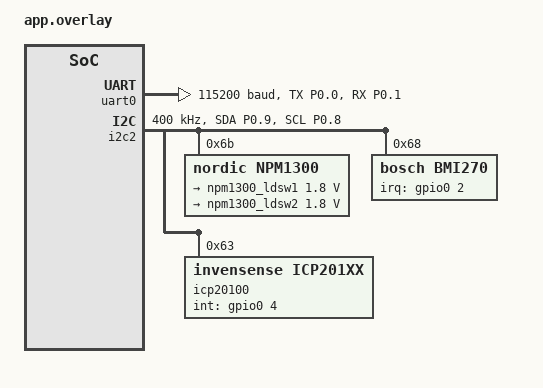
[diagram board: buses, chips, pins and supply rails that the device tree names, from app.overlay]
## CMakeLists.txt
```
cmake_minimum_required(VERSION 3.20.0)

find_package(Zephyr REQUIRED HINTS $ENV{ZEPHYR_BASE})
project(lte_pcb)

target_sources(app PRIVATE src/main.c)
```

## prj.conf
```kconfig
# =====================================================
# LTE Cyclic Connection Test - prj.conf
# =====================================================

# --- Logging over UART ---
CONFIG_LOG=y
CONFIG_SERIAL=y
CONFIG_UART_CONSOLE=y
CONFIG_LOG_BUFFER_SIZE=4096

# --- Modem & LTE Link Control ---
CONFIG_NRF_MODEM_LIB=y
CONFIG_LTE_LINK_CONTROL=y

# Enable both LTE-M and NB-IoT, but PREFER LTE-M.
# The modem will try LTE-M first and only fall back to NB-IoT if needed.
CONFIG_LTE_NETWORK_MODE_LTE_M_NBIOT=y
CONFIG_LTE_MODE_PREFERENCE_LTE_M=y

# (Alternative: force LTE-M ONLY, no NB-IoT fallback.
#  Comment out the two lines above and use this instead:)
# CONFIG_LTE_NETWORK_MODE_LTE_M=y

# --- General system ---
CONFIG_HEAP_MEM_POOL_SIZE=4096
CONFIG_MAIN_STACK_SIZE=4096

# --- nPM1300 PMIC (charger + regulators on I2C) ---
CONFIG_I2C=y
CONFIG_GPIO=y
CONFIG_MFD=y
CONFIG_REGULATOR=y
# SENSOR is needed for the npm1300 charger driver (battery voltage readout)
CONFIG_SENSOR=y
```

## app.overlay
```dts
#include <zephyr/dt-bindings/regulator/npm13xx.h>
#include <zephyr/dt-bindings/i2c/i2c.h>

&pinctrl {
    /* --- UART0 --- */
    uart0_default: uart0_default {
        group1 {
            psels = <NRF_PSEL(UART_TX, 0, 0)>,
                    <NRF_PSEL(UART_RX, 0, 1)>;
        };
    };
    uart0_sleep: uart0_sleep {
        group1 {
            psels = <NRF_PSEL(UART_TX, 0, 0)>,
                    <NRF_PSEL(UART_RX, 0, 1)>;
            low-power-enable;
        };
    };

    /* --- I2C2 --- */
    i2c2_default: i2c2_default {
        group1 {
            psels = <NRF_PSEL(TWIM_SDA, 0, 9)>,
                    <NRF_PSEL(TWIM_SCL, 0, 8)>;
        };
    };
    i2c2_sleep: i2c2_sleep {
        group1 {
            psels = <NRF_PSEL(TWIM_SDA, 0, 9)>,
                    <NRF_PSEL(TWIM_SCL, 0, 8)>;
            low-power-enable;
        };
    };
};


&uart0 {
    status = "okay";
    current-speed = <115200>;
    pinctrl-0 = <&uart0_default>;
    pinctrl-1 = <&uart0_sleep>;
    pinctrl-names = "default", "sleep";
};

&i2c2 {
    status = "okay";
    pinctrl-0 = <&i2c2_default>;
    pinctrl-1 = <&i2c2_sleep>;
    pinctrl-names = "default", "sleep";
    clock-frequency = <I2C_BITRATE_FAST>;
    zephyr,concat-buf-size = <2048>;
    zephyr,flash-buf-max-size = <2048>;

    npm1300: pmic@6b {
        compatible = "nordic,npm1300";
        reg = <0x6b>;
        status = "okay";

        npm1300_regulators: regulators {
            compatible = "nordic,npm1300-regulator";
            status = "okay";
        };

        npm1300_charger: charger {
            compatible = "nordic,npm1300-charger";
            status = "okay";
            vbus-limit-microamp = <1300000>;
            term-microvolt = <4200000>;
            current-microamp = <150000>;
            dischg-limit-microamp = <1000000>;
            thermistor-ohms = <10000>;
            thermistor-beta = <3380>;
        };
    };


    /* Bosch BMI270 IMU */
    bmi270: bmi270@68 {
        compatible = "bosch,bmi270";
        reg = <0x68>;
        irq-gpios = <&gpio0 2 GPIO_ACTIVE_HIGH>;
    };

    /* TDK Barometer */
    icp20100: icp20100@63 {
        compatible = "invensense,icp201xx";
        reg = <0x63>;
        int-gpios = <&gpio0 4 GPIO_ACTIVE_HIGH>;
    };

};


&npm1300_regulators {
    npm1300_ldsw1: LDO1 {
        status = "okay";
        /* Fixed: Lowered to 1.8V to match nRF9151 GPIO logic levels */
        regulator-min-microvolt = <1800000>;
        regulator-max-microvolt = <1800000>;
        regulator-initial-mode = <NPM13XX_LDSW_MODE_LDSW>;
        active-discharge;
        regulator-boot-on;
        regulator-always-on;
    };

    npm1300_ldsw2: LDO2 {
        status = "okay";
        /* Fixed: Lowered to 1.8V to match nRF9151 GPIO logic levels */
        regulator-min-microvolt = <1800000>;
        regulator-max-microvolt = <1800000>;
        regulator-initial-mode = <NPM13XX_LDSW_MODE_LDSW>;
        active-discharge;
        regulator-boot-on;
        regulator-always-on;
    };
};
```

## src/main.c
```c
#include <zephyr/kernel.h>
#include <zephyr/device.h>
#include <zephyr/logging/log.h>
#include <zephyr/drivers/sensor.h>
#include <modem/nrf_modem_lib.h>
#include <modem/lte_lc.h>

LOG_MODULE_REGISTER(main_app, LOG_LEVEL_INF);

static K_SEM_DEFINE(lte_connected, 0, 1);
static bool network_rejected = false;

static void lte_handler(const struct lte_lc_evt *const evt)
{
    switch (evt->type) {
    case LTE_LC_EVT_NW_REG_STATUS:
        if ((evt->nw_reg_status == LTE_LC_NW_REG_REGISTERED_HOME) ||
            (evt->nw_reg_status == LTE_LC_NW_REG_REGISTERED_ROAMING)) {
            LOG_INF("Connected to LTE network!");
            k_sem_give(&lte_connected);
        } else if (evt->nw_reg_status == LTE_LC_NW_REG_REGISTRATION_DENIED) {
            LOG_ERR("Network rejected us!");
            network_rejected = true;
            k_sem_give(&lte_connected);
        }
        break;

    case LTE_LC_EVT_LTE_MODE_UPDATE:
        /* Tells you whether the modem actually picked LTE-M or NB-IoT */
        LOG_INF("Active LTE mode: %s",
                evt->lte_mode == LTE_LC_LTE_MODE_LTEM  ? "LTE-M" :
                evt->lte_mode == LTE_LC_LTE_MODE_NBIOT ? "NB-IoT" : "None");
        break;

    case LTE_LC_EVT_RRC_UPDATE:
        LOG_INF("RRC mode: %s",
                evt->rrc_mode == LTE_LC_RRC_MODE_CONNECTED ? "Connected" : "Idle");
        break;

    default:
        break;
    }
}

/* Log battery voltage from the nPM1300 charger (useful now that we run on battery) */
static void log_battery_voltage(void)
{
    static const struct device *const charger =
        DEVICE_DT_GET(DT_NODELABEL(npm1300_charger));
    struct sensor_value volt;

    if (!device_is_ready(charger)) {
        LOG_WRN("Charger device not ready, skipping battery readout.");
        return;
    }

    if (sensor_sample_fetch(charger) == 0 &&
        sensor_channel_get(charger, SENSOR_CHAN_GAUGE_VOLTAGE, &volt) == 0) {
        LOG_INF("Battery voltage: %d.%03d V", volt.val1, volt.val2 / 1000);
    } else {
        LOG_WRN("Failed to read battery voltage.");
    }
}

int main(void)
{
    int err;

    LOG_INF("=== LTE Cyclic Connection Test Booting (LTE-M preferred) ===");

    const struct device *const npm1300_dev = DEVICE_DT_GET(DT_NODELABEL(npm1300));
    if (!device_is_ready(npm1300_dev)) {
        LOG_ERR("PMIC is not ready");
        return -1;
    }
    LOG_INF("PMIC initialized successfully.");

    log_battery_voltage();

    /* Initialize the modem library ONLY ONCE */
    LOG_INF("Initializing modem library...");
    err = nrf_modem_lib_init();
    if (err) {
        LOG_ERR("Modem init failed, err %d", err);
        return -1;
    }

    /* --- The Infinite Reconnect Loop --- */
    while (1) {
        network_rejected = false;
        k_sem_reset(&lte_connected);

        LOG_INF("Connecting to LTE network...");
        err = lte_lc_connect_async(lte_handler);
        if (err) {
            LOG_ERR("LTE connect async failed, err %d", err);
            k_sleep(K_SECONDS(10));
            continue;
        }

        LOG_INF("Waiting for LTE connection...");
        k_sem_take(&lte_connected, K_FOREVER);

        if (!network_rejected) {
            LOG_INF("Successfully connected! Holding for 10 seconds...");
            log_battery_voltage();
            k_sleep(K_SECONDS(10));

            LOG_INF("Disconnecting cleanly from LTE network...");
            lte_lc_power_off();
            LOG_INF("Disconnected safely.");
        } else {
            LOG_ERR("Aborting this cycle due to network rejection.");
        }

        LOG_INF("Sleeping for 30 seconds before the next connection attempt...");
        log_battery_voltage();
        k_sleep(K_SECONDS(30));
        LOG_INF("--------------------------------------------------");
    }

    return 0;
}
```
